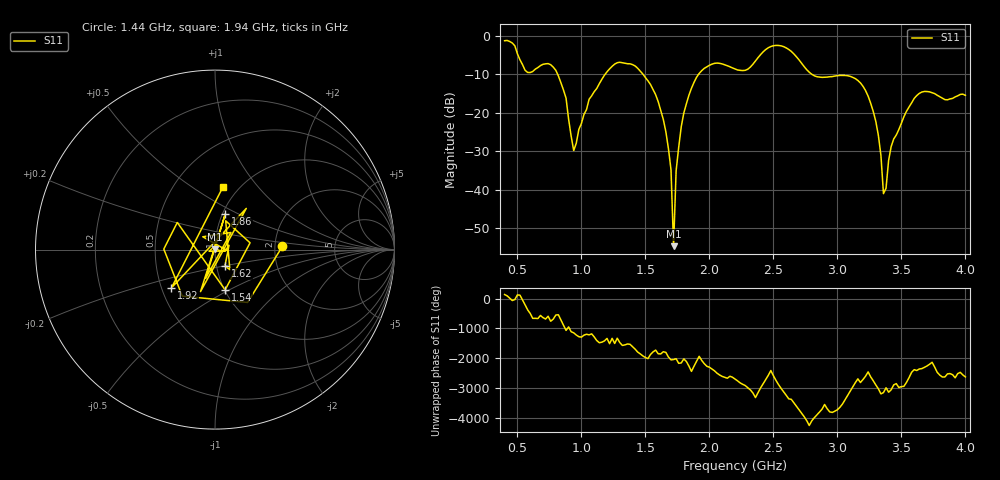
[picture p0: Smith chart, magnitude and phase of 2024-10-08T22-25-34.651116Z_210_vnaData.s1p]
! Created with skrf (http://scikit-rf.org).
# Hz S RI R 50.0
!freq ReS11 ImS11
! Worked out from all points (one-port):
!   181 points, 400 MHz to 4 GHz, reference 50 ohm
!   lowest |S11| = -54.6 dB at 1.72 GHz (marker M1), VSWR 1.00, Z = 49.9 + j0.17 ohm
!   |S11| at or under -10 dB: 813.6 MHz to 1.186 GHz (372.8 MHz wide, 37.3 % of centre); 1.48 GHz to 1.916 GHz (436 MHz wide, 25.7 % of centre); 2.798 GHz to end of sweep
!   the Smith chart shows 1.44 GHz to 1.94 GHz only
!   S11 on the Smith chart (normalised r, x): 1.44 GHz: 2.20, +0.09; 1.54 GHz: 1.01, -0.48; 1.62 GHz: 1.10, -0.20; 1.86 GHz: 1.03, +0.43; 1.92 GHz: 0.56, -0.27; 1.94 GHz: 0.85, +0.67
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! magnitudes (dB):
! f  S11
! 400 MHz  -1.3
! 580 MHz  -9.6
! 760 MHz  -7.6
! 860 MHz  -14.1
! 940 MHz  -29.8
! 1.06 GHz  -16.5
! 1.3 GHz  -6.9
! 1.44 GHz  -8.5
! 1.54 GHz  -12.7
! 1.62 GHz  -19.5
! 1.7 GHz  -34.8
! 1.72 GHz  -54.6
! 1.74 GHz  -35.1
! 1.76 GHz  -29.0
! 1.86 GHz  -13.7
! 1.92 GHz  -9.8
! 1.94 GHz  -9.1
! 2.2 GHz  -8.6
! 2.5 GHz  -2.6
! 2.66 GHz  -4.8
! 2.82 GHz  -10.4
! 3.1 GHz  -10.6
! 3.28 GHz  -19.7
! 3.34 GHz  -31.1
! 3.36 GHz  -41.0
! 3.42 GHz  -28.8
! 3.56 GHz  -18.5
! 4 GHz  -15.5
